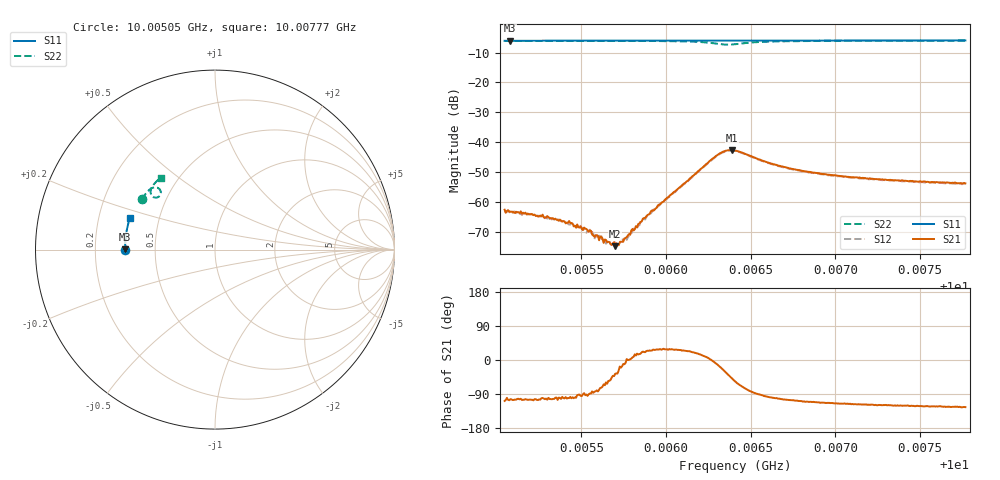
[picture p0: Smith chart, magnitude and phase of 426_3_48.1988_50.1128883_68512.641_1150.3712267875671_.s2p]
#  HZ  S  RI  R  50.00
! Rohde & Schwarz Vector Network Analyzer
! Rohde-Schwarz,ZNB20-2Port,1311601062101988,3.16
! Created: UTC 3/20/2024, 11:55:09 AM
! freq[Hz]  re:S11  im:S11  re:S21  im:S21  re:S12  im:S12  re:S22  im:S22
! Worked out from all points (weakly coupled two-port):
!   401 points, 10.00505 GHz to 10.00777 GHz, reference 50 ohm
!   highest |S21| = -42.64 dB at 10.00639 GHz (marker M1); lowest = -74.8 dB at 10.0057 GHz (marker M2)
!   lowest |S11| = -6.0 dB at 10.00508 GHz (marker M3), VSWR 3.00, Z = 16.7 + j0.121 ohm
!   |S11| at or under -10 dB: nowhere
!   |S22| runs from -7.3 to -6.0 dB; largest |S21 - S12| = 0.00046
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1.0005047e10  -0.4999 0.000507  -0.000228 -0.000705  -0.000142 -0.000683  -0.4076 0.2802
1.0005081e10  -0.4998 0.00273  -0.000158 -0.000671  -0.000134 -0.000641  -0.4065 0.2822
1.0005312e10  -0.5001 0.0178  -0.000119 -0.000525  -7.75e-05 -0.000513  -0.3974 0.2957
1.0005435e10  -0.5 0.0258  -5.69e-05 -0.000441  -3.41e-05 -0.000417  -0.3923 0.3031
1.0005503e10  -0.4999 0.0301  -3.13e-05 -0.000352  -1.13e-05 -0.000368  -0.3893 0.3072
1.0005557e10  -0.4997 0.0338  1.04e-05 -0.000329  4.31e-05 -0.000284  -0.3867 0.3107
1.0005584e10  -0.4997 0.0355  3.52e-05 -0.000271  5.85e-05 -0.000275  -0.3855 0.3123
1.0005618e10  -0.4997 0.0377  7.57e-05 -0.000249  6.22e-05 -0.000261  -0.3838 0.3143
1.0005639e10  -0.4995 0.0389  9.36e-05 -0.000216  6.98e-05 -0.00022  -0.3829 0.3155
1.00057e10  -0.4994 0.0431  0.000147 -0.000108  0.000157 -0.000118  -0.3795 0.3194
1.0005734e10  -0.4992 0.0452  0.000208 -7.67e-05  0.000201 -7.61e-05  -0.3776 0.3214
1.0005781e10  -0.499 0.0483  0.000289 2.34e-06  0.00027 -1.17e-06  -0.375 0.3245
1.0005856e10  -0.4988 0.0531  0.000442 0.000163  0.000443 0.000174  -0.3702 0.3293
1.0005958e10  -0.4981 0.0597  0.0008 0.000418  0.000761 0.000414  -0.3622 0.3361
1.0006285e10  -0.4952 0.0808  0.00552 -0.000553  0.00544 -0.000274  -0.3059 0.3323
1.0006339e10  -0.4948 0.084  0.00626 -0.00312  0.00624 -0.00272  -0.303 0.309
1.0006387e10  -0.4944 0.0867  0.00497 -0.00546  0.00512 -0.00512  -0.3179 0.292
1.0006407e10  -0.4942 0.0879  0.00406 -0.00602  0.00431 -0.00572  -0.3269 0.2897
1.0006659e10  -0.4922 0.1041  -0.000819 -0.00399  -0.000625 -0.00399  -0.3581 0.3315
1.0006863e10  -0.4898 0.117  -0.00111 -0.00291  -0.00096 -0.00293  -0.3489 0.3519
1.0007319e10  -0.483 0.1458  -0.00115 -0.00203  -0.00102 -0.00204  -0.3259 0.38
1.0007767e10  -0.4747 0.1734  -0.00116 -0.00169  -0.00104 -0.00171  -0.303 0.4015
